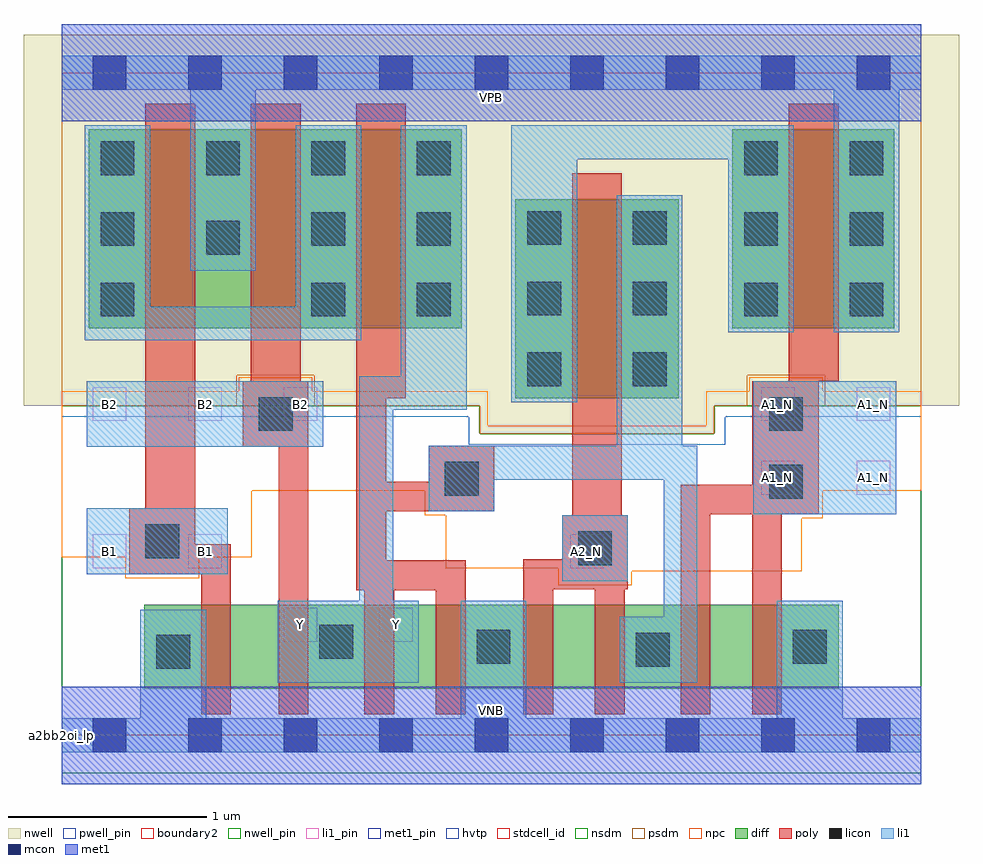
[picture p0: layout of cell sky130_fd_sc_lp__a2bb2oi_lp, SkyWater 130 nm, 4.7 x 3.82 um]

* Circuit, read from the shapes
.subckt sky130_fd_sc_lp__a2bb2oi_lp A1_N A2_N B1 B2 VGND VNB VPB VPWR Y
XM1 n1 B1 VGND VNB sky130_fd_pr__nfet_01v8 w=0.42 l=0.15
XM2 Y B2 n1 VNB sky130_fd_pr__nfet_01v8 w=0.42 l=0.15
XM3 n2 n3 Y VNB sky130_fd_pr__nfet_01v8 w=0.42 l=0.15
XM4 VGND n3 n2 VNB sky130_fd_pr__nfet_01v8 w=0.42 l=0.15
XM5 n4 A2_N VGND VNB sky130_fd_pr__nfet_01v8 w=0.42 l=0.15
XM6 n3 A2_N n4 VNB sky130_fd_pr__nfet_01v8 w=0.42 l=0.15
XM7 n5 A1_N n3 VNB sky130_fd_pr__nfet_01v8 w=0.42 l=0.15
XM8 VGND A1_N n5 VNB sky130_fd_pr__nfet_01v8 w=0.42 l=0.15
XM9 VPWR B1 n6 VPB sky130_fd_pr__pfet_01v8_hvt w=1 l=0.25
XM10 n6 B2 VPWR VPB sky130_fd_pr__pfet_01v8_hvt w=1 l=0.25
XM11 Y n3 n6 VPB sky130_fd_pr__pfet_01v8_hvt w=1 l=0.25
XM12 n3 A2_N n7 VPB sky130_fd_pr__pfet_01v8_hvt w=1 l=0.25
XM13 VPWR A1_N n7 VPB sky130_fd_pr__pfet_01v8_hvt w=1 l=0.25
.ends

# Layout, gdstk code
import gdstk
lib = gdstk.Library(unit=1e-6, precision=1e-09)
def R(c, l, rs):  # rectangles x0, y0, x1, y1
    for r in rs: c.add(gdstk.rectangle(r[:2], r[2:], *l))
def A(c, l, x, y, w, h, nx, ny, dx, dy):  # array of equal rectangles
    R(c, l, [(x+i*dx, y+j*dy, x+i*dx+w, y+j*dy+h) for i in range(nx) for j in range(ny)])
def P(c, l, *ps):  # polygons
    for p in ps: c.add(gdstk.Polygon(p, *l))
nwell_pin = (64, 16)
nwell = (64, 20)
diff = (65, 20)
poly = (66, 20)
licon = (66, 44)
li1_pin = (67, 16)
li1 = (67, 20)
mcon = (67, 44)
met1_pin = (68, 16)
met1 = (68, 20)
hvtp = (78, 44)
stdcell_id = (81, 4)
nsdm = (93, 44)
psdm = (94, 20)
npc = (95, 20)
pwell_pin = (122, 16)
boundary2 = (236, 0)

sky130_fd_sc_lp__a2bb2oi = lib.new_cell('sky130_fd_sc_lp__a2bb2oi_lp')
R(sky130_fd_sc_lp__a2bb2oi, nwell_pin, [(0,3.085,4.32,3.33)])
P(sky130_fd_sc_lp__a2bb2oi, nwell, [(4.51,3.52),(-0.19,3.52),(-0.19,1.655),(2.1,1.655),(2.1,1.515),(3.28,1.515),(3.28,1.655),(4.51,1.655)])
R(sky130_fd_sc_lp__a2bb2oi, diff, [(0.415,0.235,3.905,0.655), (2.28,1.695,3.1,2.695), (0.135,2.045,2.01,3.045), (3.37,2.045,4.185,3.045)])
P(sky130_fd_sc_lp__a2bb2oi, poly, [(0.85,0.96),(0.67,0.96),(0.67,3.175),(0.42,3.175),(0.42,1.14),(0.34,1.14),(0.34,0.81),(0.7,0.81),(0.7,0.105),(0.85,0.105)],
  [(1.24,1.78),(1.2,1.78),(1.2,3.175),(0.95,3.175),(0.95,1.78),(0.91,1.78),(0.91,1.45),(1.09,1.45),(1.09,0.105),(1.24,0.105)],
  [(2.175,1.455),(1.845,1.455),(1.845,1.275),(1.63,1.275),(1.63,1.695),(1.73,1.695),(1.73,3.175),(1.48,3.175),(1.48,0.73),(1.52,0.73),(1.52,0.105),(1.67,0.105),(1.67,0.73),(1.88,0.73),(1.88,0.105),(2.03,0.105),(2.03,0.88),(1.63,0.88),(1.63,1.125),(2.175,1.125)],
  [(2.845,1.105),(2.815,1.105),(2.815,2.825),(2.565,2.825),(2.565,1.105),(2.515,1.105),(2.515,0.885),(2.32,0.885),(2.32,0.105),(2.47,0.105),(2.47,0.735),(2.68,0.735),(2.68,0.105),(2.83,0.105),(2.83,0.735),(2.845,0.735)],
  [(3.905,3.175),(3.655,3.175),(3.655,1.78),(3.47,1.78),(3.47,1.26),(3.11,1.26),(3.11,0.105),(3.26,0.105),(3.26,1.11),(3.47,1.11),(3.47,0.105),(3.62,0.105),(3.62,1.11),(3.805,1.11),(3.805,1.78),(3.905,1.78)])
A(sky130_fd_sc_lp__a2bb2oi, licon, 2.34, 1.755, 0.17, 0.17, 1, 3, 0, 0.355)
A(sky130_fd_sc_lp__a2bb2oi, licon, 2.87, 1.755, 0.17, 0.17, 1, 3, 0, 0.355)
A(sky130_fd_sc_lp__a2bb2oi, licon, 3.43, 2.105, 0.17, 0.17, 1, 3, 0, 0.355)
A(sky130_fd_sc_lp__a2bb2oi, licon, 3.96, 2.105, 0.17, 0.17, 1, 3, 0, 0.355)
A(sky130_fd_sc_lp__a2bb2oi, licon, 0.195, 2.815, 0.17, 0.17, 4, 1, 0.53, 0)
R(sky130_fd_sc_lp__a2bb2oi, licon, [(0.475,0.335,0.645,0.505), (2.885,0.345,3.055,0.515), (2.085,0.36,2.255,0.53), (3.675,0.36,3.845,0.53), (1.295,0.385,1.465,0.555), (2.595,0.855,2.765,1.025), (0.42,0.89,0.59,1.06), (3.555,1.19,3.725,1.36), (1.925,1.205,2.095,1.375), (0.99,1.53,1.16,1.7), (3.555,1.53,3.725,1.7), (0.195,2.105,0.365,2.275), (1.255,2.105,1.425,2.275), (1.785,2.105,1.955,2.275), (0.725,2.415,0.895,2.585), (0.195,2.46,0.365,2.63), (1.255,2.46,1.425,2.63), (1.785,2.46,1.955,2.63)])
A(sky130_fd_sc_lp__a2bb2oi, li1_pin, 0.155, 1.58, 0.17, 0.17, 3, 1, 0.48, 0)
R(sky130_fd_sc_lp__a2bb2oi, li1_pin, [(1.115,0.47,1.285,0.64), (1.595,0.47,1.765,0.64), (0.155,0.84,0.325,1.01), (0.635,0.84,0.805,1.01), (2.555,0.84,2.725,1.01), (3.515,1.21,3.685,1.38), (3.995,1.21,4.165,1.38), (3.515,1.58,3.685,1.75), (3.995,1.58,4.165,1.75)])
R(sky130_fd_sc_lp__a2bb2oi, li1, [(2.515,0.775,2.845,1.105), (0.125,0.81,0.835,1.14), (3.475,1.11,4.195,1.78), (0.125,1.45,1.315,1.78)])
P(sky130_fd_sc_lp__a2bb2oi, li1, [(3.88,2.025),(3.88,3.245),(0.975,3.245),(0.975,2.335),(0.645,2.335),(0.645,3.245),(0,3.245),(0,3.415),(4.32,3.415),(4.32,3.245),(4.21,3.245),(4.21,2.025)],
  [(2.005,0.085),(2.005,0.675),(2.335,0.675),(2.335,0.085),(3.595,0.085),(3.595,0.675),(3.925,0.675),(3.925,0.085),(4.32,0.085),(4.32,-0.085),(0,-0.085),(0,0.085),(0.395,0.085),(0.395,0.63),(0.725,0.63),(0.725,0.085)],
  [(1.085,0.265),(1.085,0.675),(1.495,0.675),(1.495,1.805),(1.705,1.805),(1.705,3.065),(2.035,3.065),(2.035,1.635),(1.665,1.635),(1.665,0.675),(1.795,0.675),(1.795,0.265)],
  [(3.025,0.595),(3.025,1.285),(2.175,1.285),(2.175,1.125),(1.845,1.125),(1.845,1.455),(2.79,1.455),(2.79,2.715),(3.12,2.715),(3.12,1.455),(3.195,1.455),(3.195,0.265),(2.805,0.265),(2.805,0.595)],
  [(1.175,2.155),(1.175,3.065),(1.505,3.065),(1.505,1.985),(0.115,1.985),(0.115,3.065),(0.445,3.065),(0.445,2.155)],
  [(3.35,2.025),(3.35,2.895),(2.59,2.895),(2.59,1.675),(2.26,1.675),(2.26,3.065),(3.68,3.065),(3.68,2.025)])
A(sky130_fd_sc_lp__a2bb2oi, mcon, 0.155, -0.085, 0.17, 0.17, 9, 2, 0.48, 3.33)
R(sky130_fd_sc_lp__a2bb2oi, met1_pin, [(0,0,4.32,0.245), (0,3.085,4.32,3.33)])
R(sky130_fd_sc_lp__a2bb2oi, met1, [(0,-0.245,4.32,0.245), (0,3.085,4.32,3.575)])
P(sky130_fd_sc_lp__a2bb2oi, hvtp, [(4.32,3.33),(0,3.33),(0,1.6),(2.045,1.6),(2.045,1.46),(3.335,1.46),(3.335,1.6),(4.32,1.6)])
R(sky130_fd_sc_lp__a2bb2oi, stdcell_id, [(0,0,4.32,3.33)])
P(sky130_fd_sc_lp__a2bb2oi, nsdm, [(4.32,1.655),(3.28,1.655),(3.28,1.515),(2.1,1.515),(2.1,1.655),(0,1.655),(0,-0.19),(4.32,-0.19)])
P(sky130_fd_sc_lp__a2bb2oi, psdm, [(4.32,3.52),(0,3.52),(0,1.655),(0.88,1.655),(0.88,1.81),(1.27,1.81),(1.27,1.655),(2.1,1.655),(2.1,1.515),(3.28,1.515),(3.28,1.655),(3.445,1.655),(3.445,1.81),(3.835,1.81),(3.835,1.655),(4.32,1.655)])
P(sky130_fd_sc_lp__a2bb2oi, npc, [(4.32,1.73),(3.825,1.73),(3.825,1.8),(3.455,1.8),(3.455,1.73),(3.24,1.73),(3.24,1.555),(2.14,1.555),(2.14,1.73),(1.26,1.73),(1.26,1.8),(0.89,1.8),(0.89,1.73),(0,1.73),(0,0.895),(0.32,0.895),(0.32,0.79),(0.69,0.79),(0.69,0.895),(0.955,0.895),(0.955,1.23),(1.825,1.23),(1.825,1.105),(1.93,1.105),(1.93,0.84),(2.495,0.84),(2.495,0.755),(2.865,0.755),(2.865,0.825),(3.72,0.825),(3.72,1.09),(3.825,1.09),(3.825,1.23),(4.32,1.23)])
R(sky130_fd_sc_lp__a2bb2oi, pwell_pin, [(0,0,4.32,0.245)])
R(sky130_fd_sc_lp__a2bb2oi, boundary2, [(0,0,4.32,3.33)])
sky130_fd_sc_lp__a2bb2oi.add(gdstk.Label('VNB', (2.16,0.123), layer=64, texttype=59))
sky130_fd_sc_lp__a2bb2oi.add(gdstk.Label('VPB', (2.16,3.208), layer=64, texttype=5))
sky130_fd_sc_lp__a2bb2oi.add(gdstk.Label('a2bb2oi_lp', (0,0), layer=83, texttype=44))
sky130_fd_sc_lp__a2bb2oi.add(gdstk.Label('VPWR', (2.16,3.208), layer=68, texttype=5))
sky130_fd_sc_lp__a2bb2oi.add(gdstk.Label('VGND', (2.16,0.123), layer=68, texttype=5))
sky130_fd_sc_lp__a2bb2oi.add(gdstk.Label('A1_N', (3.6,1.295), layer=67, texttype=5))
sky130_fd_sc_lp__a2bb2oi.add(gdstk.Label('A1_N', (3.6,1.665), layer=67, texttype=5))
sky130_fd_sc_lp__a2bb2oi.add(gdstk.Label('A1_N', (4.08,1.295), layer=67, texttype=5))
sky130_fd_sc_lp__a2bb2oi.add(gdstk.Label('A1_N', (4.08,1.665), layer=67, texttype=5))
sky130_fd_sc_lp__a2bb2oi.add(gdstk.Label('B1', (0.24,0.925), layer=67, texttype=5))
sky130_fd_sc_lp__a2bb2oi.add(gdstk.Label('B1', (0.72,0.925), layer=67, texttype=5))
sky130_fd_sc_lp__a2bb2oi.add(gdstk.Label('A2_N', (2.64,0.925), layer=67, texttype=5))
sky130_fd_sc_lp__a2bb2oi.add(gdstk.Label('B2', (0.24,1.665), layer=67, texttype=5))
sky130_fd_sc_lp__a2bb2oi.add(gdstk.Label('B2', (0.72,1.665), layer=67, texttype=5))
sky130_fd_sc_lp__a2bb2oi.add(gdstk.Label('B2', (1.2,1.665), layer=67, texttype=5))
sky130_fd_sc_lp__a2bb2oi.add(gdstk.Label('Y', (1.2,0.555), layer=67, texttype=5))
sky130_fd_sc_lp__a2bb2oi.add(gdstk.Label('Y', (1.68,0.555), layer=67, texttype=5))

lib.write_gds('sky130_fd_sc_lp__a2bb2oi_lp.gds')
